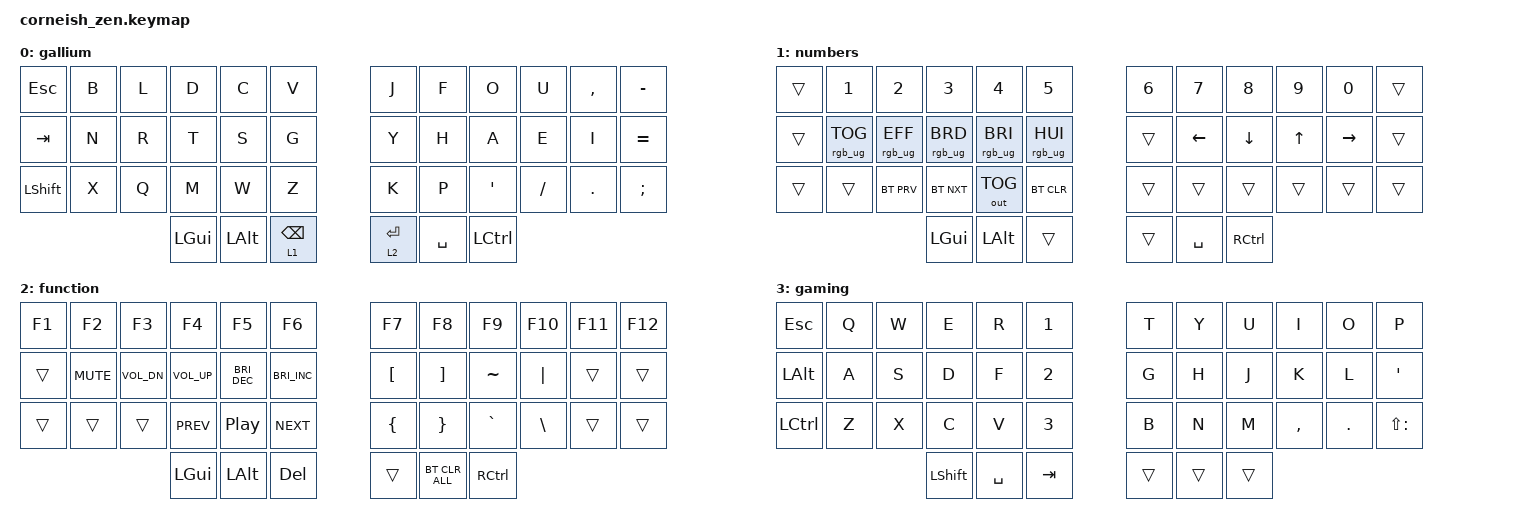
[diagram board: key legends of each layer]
/*
 * Copyright (c) 2020 The ZMK Contributors
 *
 * SPDX-License-Identifier: MIT
 */

#include <dt-bindings/zmk/mouse.h>
#include <behaviors.dtsi>
#include <dt-bindings/zmk/bt.h>
#include <dt-bindings/zmk/keys.h>
#include <dt-bindings/zmk/outputs.h>
#include <dt-bindings/zmk/rgb.h>

#define ZMK_POINTING_DEFAULT_MOVE_VAL 1200 // default: 600
#define ZMK_POINTING_DEFAULT_SCRL_VAL 20    // default: 10

&lt {
    tapping-term-ms = <100>;
    quick-tap-ms = <50>;
    retro-tap;
};

/ {
    combos {
        compatible = "zmk,combos";

        gaming {
            bindings = <&tog 3>;
            key-positions = <38 24 39>;
        };
    };

    macros {
        enter_gaming: enter_gaming {
            compatible = "zmk,behavior-macro";
            #binding-cells = <0>;
            bindings = <&kp ENTER &to 3>;
            label = "ENTER_GAMING";
        };
    };

    keymap {
        compatible = "zmk,keymap";

        gallium {
            bindings = <
&kp ESC         &kp B  &kp L  &kp D     &kp C     &kp V              &kp J        &kp F      &kp O             &kp U      &kp COMMA   &kp MINUS
&kp TAB         &kp N  &kp R  &kp T     &kp S     &kp G              &kp Y        &kp H      &kp A             &kp E      &kp I       &kp EQUAL
&kp LEFT_SHIFT  &kp X  &kp Q  &kp M     &kp W     &kp Z              &kp K        &kp P      &kp SQT           &kp SLASH  &kp PERIOD  &kp SEMI
                              &kp LGUI  &kp LALT  &lt 1 BACKSPACE    &lt 2 ENTER  &kp SPACE  &kp LEFT_CONTROL
            >;
        };

        numbers {
            // -----------------------------------------------------------------------------------------
            // | ESC |  1  |  2  |  3  |  4  |  5  |   |  6  |  7  |  8  |  9  |  0  | BKSP |
            // | TAB |  A  |  S  |     |     |     |   | LFT | DWN |  UP | RGT |     | ENT  |
            // | CTRL|  Z  |  X  |     |     |     |   |     |     |     |     |     |      |
            //                    | GUI | ALT|     |   |     | SPC | SHFT|

            bindings = <
&trans  &kp N1           &kp N2           &kp N3           &kp N4           &kp N5             &kp N6  &kp N7     &kp N8             &kp N9        &kp N0     &trans
&trans  &rgb_ug RGB_TOG  &rgb_ug RGB_EFF  &rgb_ug RGB_BRD  &rgb_ug RGB_BRI  &rgb_ug RGB_HUI    &trans  &kp LEFT   &kp DOWN           &kp UP_ARROW  &kp RIGHT  &trans
&trans  &trans           &bt BT_PRV       &bt BT_NXT       &out OUT_TOG     &bt BT_CLR         &trans  &trans     &trans             &trans        &trans     &trans
                                          &kp LGUI         &kp LALT         &trans             &trans  &kp SPACE  &kp RIGHT_CONTROL
            >;
        };

        function {
            // -----------------------------------------------------------------------------------------
            // |  ESC |  !  |  @  |  #  |  $  |  %  |   |  ^  |  &  |  *  |  (  |  )  | BKSP |
            // | TAB  | CVM | CVD | CVU | CBD |  CBI|   |  -  |  =  |  [  |  ]  |  \  |  `   |
            // | CTRL |     |     |PPREV|  PP | PN  |   |  _  |  +  |  {  |  }  | "|" |  ;   |
            //                    | GUI | ALT |     |   |     | SPC | SFT |

            bindings = <
&kp F1  &kp F2      &kp F3        &kp F4        &kp F5         &kp F6           &kp F7            &kp F8             &kp F9             &kp F10        &kp F11  &kp F12
&trans  &kp C_MUTE  &kp C_VOL_DN  &kp C_VOL_UP  &kp C_BRI_DEC  &kp C_BRI_INC    &kp LEFT_BRACKET  &kp RIGHT_BRACKET  &kp TILDE          &kp PIPE       &trans   &trans
&trans  &trans      &trans        &kp C_PREV    &kp C_PP       &kp C_NEXT       &kp LEFT_BRACE    &kp RIGHT_BRACE    &kp GRAVE          &kp BACKSLASH  &trans   &trans
                                  &kp LGUI      &kp LALT       &kp DEL          &trans            &bt BT_CLR_ALL     &kp RIGHT_CONTROL
            >;
        };

        gaming {
            bindings = <
&kp ESC    &kp Q  &kp W  &kp E      &kp R      &kp N1     &kp T   &kp Y   &kp U   &kp I      &kp O    &kp P
&kp LALT   &kp A  &kp S  &kp D      &kp F      &kp N2     &kp G   &kp H   &kp J   &kp K      &kp L    &kp SQT
&kp LCTRL  &kp Z  &kp X  &kp C      &kp V      &kp N3     &kp B   &kp N   &kp M   &kp COMMA  &kp DOT  &kp LS(COLON)
                         &kp LSHFT  &kp SPACE  &kp TAB    &trans  &trans  &trans
            >;
        };
    };
};
